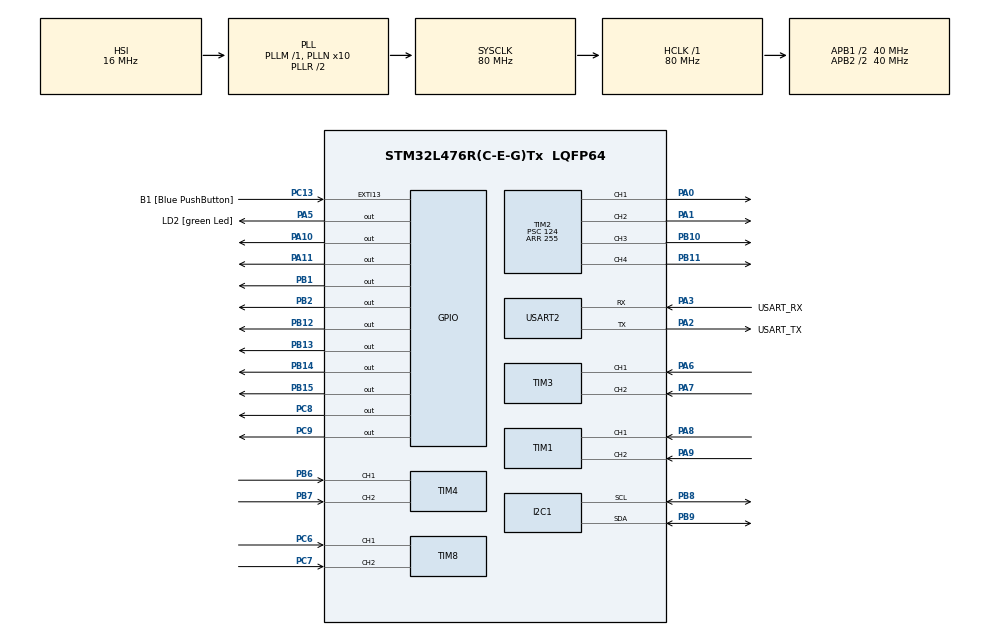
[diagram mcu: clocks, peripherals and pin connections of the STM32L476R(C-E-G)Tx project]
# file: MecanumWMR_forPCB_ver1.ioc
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I2C1.OwnAddress=0x12
I2C1.Timing=0x00909BEB
Mcu.Family=STM32L4
Mcu.Name=STM32L476R(C-E-G)Tx
Mcu.Package=LQFP64
NVIC.EXTI15_10_IRQn=true\:0\:0\:false\:false\:true\:true\:true\:true
NVIC.I2C1_ER_IRQn=true\:0\:0\:false\:false\:true\:true\:true\:true
NVIC.I2C1_EV_IRQn=true\:0\:0\:false\:false\:true\:true\:true\:true
NVIC.PriorityGroup=NVIC_PRIORITYGROUP_4
NVIC.TIM5_IRQn=true\:0\:0\:false\:false\:true\:true\:true\:true
PA0.Signal=S_TIM2_CH1
PA1.Signal=S_TIM2_CH2
PA10.GPIO_PuPd=GPIO_PULLDOWN
PA10.Signal=GPIO_Output
PA11.GPIO_PuPd=GPIO_PULLDOWN
PA11.Signal=GPIO_Output
PA13\ (JTMS-SWDIO).GPIO_Label=TMS
PA13\ (JTMS-SWDIO).Mode=Serial_Wire
PA13\ (JTMS-SWDIO).Signal=SYS_JTMS-SWDIO
PA14\ (JTCK-SWCLK).GPIO_Label=TCK
PA14\ (JTCK-SWCLK).Mode=Serial_Wire
PA14\ (JTCK-SWCLK).Signal=SYS_JTCK-SWCLK
PA2.GPIO_Label=USART_TX
PA2.GPIO_Mode=GPIO_MODE_AF_PP
PA2.GPIO_PuPd=GPIO_NOPULL
PA2.GPIO_Speed=GPIO_SPEED_FREQ_VERY_HIGH
PA2.Mode=Asynchronous
PA2.Signal=USART2_TX
PA3.GPIO_Label=USART_RX
PA3.GPIO_Mode=GPIO_MODE_AF_PP
PA3.GPIO_PuPd=GPIO_NOPULL
PA3.GPIO_Speed=GPIO_SPEED_FREQ_VERY_HIGH
PA3.Mode=Asynchronous
PA3.Signal=USART2_RX
PA5.GPIO_Label=LD2 [green Led]
PA5.GPIO_ModeDefaultOutputPP=GPIO_MODE_OUTPUT_PP
PA5.GPIO_PuPd=GPIO_NOPULL
PA5.GPIO_Speed=GPIO_SPEED_FREQ_LOW
PA5.Signal=GPIO_Output
PA6.GPIO_PuPd=GPIO_PULLUP
PA6.Signal=S_TIM3_CH1
PA7.GPIO_PuPd=GPIO_PULLUP
PA7.Signal=S_TIM3_CH2
PA8.GPIO_PuPd=GPIO_PULLUP
PA8.Signal=S_TIM1_CH1
PA9.GPIO_PuPd=GPIO_PULLUP
PA9.Signal=S_TIM1_CH2
PB1.GPIO_PuPd=GPIO_PULLDOWN
PB1.Signal=GPIO_Output
PB10.Signal=S_TIM2_CH3
PB11.Signal=S_TIM2_CH4
PB12.GPIO_PuPd=GPIO_PULLDOWN
PB12.Signal=GPIO_Output
PB13.GPIO_PuPd=GPIO_PULLDOWN
PB13.Signal=GPIO_Output
PB14.GPIO_PuPd=GPIO_PULLDOWN
PB14.Signal=GPIO_Output
PB15.GPIO_PuPd=GPIO_PULLDOWN
PB15.Signal=GPIO_Output
PB2.GPIO_PuPd=GPIO_PULLDOWN
PB2.Signal=GPIO_Output
PB3\ (JTDO-TRACESWO).GPIO_Label=SWO
PB3\ (JTDO-TRACESWO).Signal=SYS_JTDO-SWO
PB6.GPIO_PuPd=GPIO_PULLUP
PB6.Signal=S_TIM4_CH1
PB7.GPIO_PuPd=GPIO_PULLUP
PB7.Signal=S_TIM4_CH2
PB8.GPIO_Pu=GPIO_PULLUP
PB8.Mode=I2C
PB8.Signal=I2C1_SCL
PB9.GPIO_Pu=GPIO_PULLUP
PB9.Mode=I2C
PB9.Signal=I2C1_SDA
PC13.GPIO_Label=B1 [Blue PushButton]
PC13.GPIO_ModeDefaultEXTI=GPIO_MODE_IT_FALLING
PC13.GPIO_PuPd=GPIO_PULLUP
PC13.Signal=GPXTI13
PC14-OSC32_IN\ (PC14).Signal=RCC_OSC32_IN
PC15-OSC32_OUT\ (PC15).Signal=RCC_OSC32_OUT
PC6.GPIO_PuPd=GPIO_PULLUP
PC6.Signal=S_TIM8_CH1
PC7.GPIO_PuPd=GPIO_PULLUP
PC7.Signal=S_TIM8_CH2
PC8.GPIO_PuPd=GPIO_PULLDOWN
PC8.Signal=GPIO_Output
PC9.GPIO_PuPd=GPIO_PULLDOWN
PC9.Signal=GPIO_Output
PH0-OSC_IN\ (PH0).Signal=RCC_OSC_IN
PH1-OSC_OUT\ (PH1).Signal=RCC_OSC_OUT
ProjectManager.HeapSize=0x200
ProjectManager.StackSize=0x400
ProjectManager.TargetToolchain=STM32CubeIDE
RCC.ADCFreq_Value=64000000
RCC.AHBFreq_Value=80000000
RCC.APB1CLKDivider=RCC_HCLK_DIV2
RCC.APB1Freq_Value=40000000
RCC.APB1TimFreq_Value=80000000
RCC.APB2CLKDivider=RCC_HCLK_DIV2
RCC.APB2Freq_Value=40000000
RCC.APB2TimFreq_Value=80000000
RCC.CortexFreq_Value=80000000
RCC.HCLKFreq_Value=80000000
RCC.HSE_VALUE=8000000
RCC.HSI_VALUE=16000000
RCC.LSE_VALUE=32768
RCC.MSI_VALUE=4000000
RCC.PLLN=10
RCC.PLLSourceVirtual=RCC_PLLSOURCE_HSI
RCC.PREFETCH_ENABLE=1
RCC.SYSCLKFreq_VALUE=80000000
RCC.SYSCLKSource=RCC_SYSCLKSOURCE_PLLCLK
RCC.USBFreq_Value=64000000
RCC.VCOOutputFreq_Value=160000000
SH.S_TIM1_CH1.0=TIM1_CH1,Encoder_Interface
SH.S_TIM1_CH2.0=TIM1_CH2,Encoder_Interface
SH.S_TIM2_CH1.0=TIM2_CH1,PWM Generation1 CH1
SH.S_TIM2_CH2.0=TIM2_CH2,PWM Generation2 CH2
SH.S_TIM2_CH3.0=TIM2_CH3,PWM Generation3 CH3
SH.S_TIM2_CH4.0=TIM2_CH4,PWM Generation4 CH4
SH.S_TIM3_CH1.0=TIM3_CH1,Encoder_Interface
SH.S_TIM3_CH2.0=TIM3_CH2,Encoder_Interface
SH.S_TIM4_CH1.0=TIM4_CH1,Encoder_Interface
SH.S_TIM4_CH2.0=TIM4_CH2,Encoder_Interface
SH.S_TIM8_CH1.0=TIM8_CH1,Encoder_Interface
SH.S_TIM8_CH2.0=TIM8_CH2,Encoder_Interface
TIM1.EncoderMode=TIM_ENCODERMODE_TI12
TIM2.AutoReloadPreload=TIM_AUTORELOAD_PRELOAD_ENABLE
TIM2.Channel-PWM\ Generation1\ CH1=TIM_CHANNEL_1
TIM2.Channel-PWM\ Generation2\ CH2=TIM_CHANNEL_2
TIM2.Channel-PWM\ Generation3\ CH3=TIM_CHANNEL_3
TIM2.Channel-PWM\ Generation4\ CH4=TIM_CHANNEL_4
TIM2.Period=255
TIM2.Prescaler=124
TIM3.EncoderMode=TIM_ENCODERMODE_TI12
TIM4.EncoderMode=TIM_ENCODERMODE_TI12
TIM5.AutoReloadPreload=TIM_AUTORELOAD_PRELOAD_ENABLE
TIM5.Period=499
TIM5.Prescaler=7999
TIM8.EncoderMode=TIM_ENCODERMODE_TI12
USART2.VirtualMode-Asynchronous=VM_ASYNC
VP_TIM2_VS_ClockSourceINT.Mode=Internal
VP_TIM5_VS_ClockSourceINT.Mode=Internal
board=NUCLEO-L476RG

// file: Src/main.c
/* USER CODE BEGIN Header */
/**
  ******************************************************************************
  * @file           : main.c
  * @brief          : Main program body
  ******************************************************************************
  * @attention
  *
  * Copyright (c) 2024 STMicroelectronics.
  * All rights reserved.
  *
  * This software is licensed under terms that can be found in the LICENSE file
  * in the root directory of this software component.
  * If no LICENSE file comes with this software, it is provided AS-IS.
  *
  ******************************************************************************
  */
/* USER CODE END Header */
#include "main.h"

/* USER CODE BEGIN Includes */
#include <stdlib.h>
#include <string.h>
#include <stdint.h>
#include <stdio.h>
#include <math.h>
#include "I2C_slave.h"
#include "controller.h"
#include "four_motor.h"
/* USER CODE END Includes */

/* USER CODE BEGIN PM */
#define SIGN(X) (X<0.0f?-1:1)
/* USER CODE END PM */

I2C_HandleTypeDef hi2c1;

TIM_HandleTypeDef htim1;
TIM_HandleTypeDef htim2;
TIM_HandleTypeDef htim3;
TIM_HandleTypeDef htim4;
TIM_HandleTypeDef htim5;
TIM_HandleTypeDef htim8;

UART_HandleTypeDef huart2;

/* USER CODE BEGIN PV */
Four_motor_t four_wheel;
volatile I2C_Signal_t pi_signal = {.value=0};
volatile I2C_Wheel_speed_t wheel_speed_ref, wheel_speed_est;
DSMC_GAIN dsmc_gain;
PID_GAIN pid_gain = {.Kp=10,.Ki=2,.Kd=0};
/* USER CODE END PV */

void SystemClock_Config(void);
static void MX_GPIO_Init(void);
static void MX_I2C1_Init(void);
static void MX_TIM1_Init(void);
static void MX_TIM2_Init(void);
static void MX_TIM3_Init(void);
static void MX_TIM4_Init(void);
static void MX_TIM5_Init(void);
static void MX_TIM8_Init(void);
static void MX_USART2_UART_Init(void);
/* USER CODE BEGIN PFP */
void Timer_Enable(void);
void Timer_Disable(void);
void reset(void);
/* USER CODE END PFP */

int main(void)
{

  /* MCU Configuration--------------------------------------------------------*/

  /* Reset of all peripherals, Initializes the Flash interface and the Systick. */
  HAL_Init();

  /* Configure the system clock */
  SystemClock_Config();

  /* Initialize all configured peripherals */
  MX_GPIO_Init();
  MX_I2C1_Init();
  MX_TIM1_Init();
  MX_TIM2_Init();
  MX_TIM3_Init();
  MX_TIM4_Init();
  MX_TIM5_Init();
  MX_TIM8_Init();
  MX_USART2_UART_Init();
  /* USER CODE BEGIN 2 */
  if (HAL_I2C_EnableListen_IT(&hi2c1)!=HAL_OK) Error_Handler();
  Motor_Init(&four_wheel);
  setDSMCgain(&dsmc_gain, 0.8835f, 0.0177f, 10.f, 0.4f, 0.9f, 1.f, 0.5f);
  /* USER CODE END 2 */

  /* Infinite loop */
  /* USER CODE BEGIN WHILE */
//  char message[30] = {0};
  while (1)
  {
	  if (pi_signal.value==0) {
		  Motor_Stop();
		  Timer_Disable();
		  while (pi_signal.value==0) {

		  }
	  }
	  else if (pi_signal.value==1) {
		  reset();
		  Motor_Start();
		  Timer_Enable();
		  while (pi_signal.value==1) {
//			  sprintf(message, "%.5f\t%.5f\n", dsmc_gain.model[0].A, dsmc_gain.model[0].b);
//			  HAL_UART_Transmit(&huart2, (uint8_t*) message, strlen(message)+1, HAL_MAX_DELAY);
//			  Motor_Drive(&four_wheel);
//			  HAL_Delay(100);
		  }
	  }
    /* USER CODE END WHILE */

  }
}

void SystemClock_Config(void)
{
  RCC_OscInitTypeDef RCC_OscInitStruct = {0};
  RCC_ClkInitTypeDef RCC_ClkInitStruct = {0};

  /** Configure the main internal regulator output voltage
  */
  if (HAL_PWREx_ControlVoltageScaling(PWR_REGULATOR_VOLTAGE_SCALE1) != HAL_OK)
  {
    Error_Handler();
  }
  /** Initializes the RCC Oscillators according to the specified parameters
  * in the RCC_OscInitTypeDef structure.
  */
  RCC_OscInitStruct.OscillatorType = RCC_OSCILLATORTYPE_HSI;
  RCC_OscInitStruct.HSIState = RCC_HSI_ON;
  RCC_OscInitStruct.HSICalibrationValue = RCC_HSICALIBRATION_DEFAULT;
  RCC_OscInitStruct.PLL.PLLState = RCC_PLL_ON;
  RCC_OscInitStruct.PLL.PLLSource = RCC_PLLSOURCE_HSI;
  RCC_OscInitStruct.PLL.PLLM = 1;
  RCC_OscInitStruct.PLL.PLLN = 10;
  RCC_OscInitStruct.PLL.PLLP = RCC_PLLP_DIV7;
  RCC_OscInitStruct.PLL.PLLQ = RCC_PLLQ_DIV2;
  RCC_OscInitStruct.PLL.PLLR = RCC_PLLR_DIV2;
  if (HAL_RCC_OscConfig(&RCC_OscInitStruct) != HAL_OK)
  {
    Error_Handler();
  }
  /** Initializes the CPU, AHB and APB buses clocks
  */
  RCC_ClkInitStruct.ClockType = RCC_CLOCKTYPE_HCLK|RCC_CLOCKTYPE_SYSCLK
                              |RCC_CLOCKTYPE_PCLK1|RCC_CLOCKTYPE_PCLK2;
  RCC_ClkInitStruct.SYSCLKSource = RCC_SYSCLKSOURCE_PLLCLK;
  RCC_ClkInitStruct.AHBCLKDivider = RCC_SYSCLK_DIV1;
  RCC_ClkInitStruct.APB1CLKDivider = RCC_HCLK_DIV2;
  RCC_ClkInitStruct.APB2CLKDivider = RCC_HCLK_DIV2;

  if (HAL_RCC_ClockConfig(&RCC_ClkInitStruct, FLASH_LATENCY_4) != HAL_OK)
  {
    Error_Handler();
  }
}

static void MX_I2C1_Init(void)
{

  hi2c1.Instance = I2C1;
  hi2c1.Init.Timing = 0x00909BEB;
  hi2c1.Init.OwnAddress1 = 36;
  hi2c1.Init.AddressingMode = I2C_ADDRESSINGMODE_7BIT;
  hi2c1.Init.DualAddressMode = I2C_DUALADDRESS_DISABLE;
  hi2c1.Init.OwnAddress2 = 0;
  hi2c1.Init.OwnAddress2Masks = I2C_OA2_NOMASK;
  hi2c1.Init.GeneralCallMode = I2C_GENERALCALL_DISABLE;
  hi2c1.Init.NoStretchMode = I2C_NOSTRETCH_DISABLE;
  if (HAL_I2C_Init(&hi2c1) != HAL_OK)
  {
    Error_Handler();
  }
  /** Configure Analogue filter
  */
  if (HAL_I2CEx_ConfigAnalogFilter(&hi2c1, I2C_ANALOGFILTER_ENABLE) != HAL_OK)
  {
    Error_Handler();
  }
  /** Configure Digital filter
  */
  if (HAL_I2CEx_ConfigDigitalFilter(&hi2c1, 0) != HAL_OK)
  {
    Error_Handler();
  }

}

static void MX_TIM1_Init(void)
{

  TIM_Encoder_InitTypeDef sConfig = {0};
  TIM_MasterConfigTypeDef sMasterConfig = {0};

  htim1.Instance = TIM1;
  htim1.Init.Prescaler = 0;
  htim1.Init.CounterMode = TIM_COUNTERMODE_UP;
  htim1.Init.Period = 65535;
  htim1.Init.ClockDivision = TIM_CLOCKDIVISION_DIV1;
  htim1.Init.RepetitionCounter = 0;
  htim1.Init.AutoReloadPreload = TIM_AUTORELOAD_PRELOAD_DISABLE;
  sConfig.EncoderMode = TIM_ENCODERMODE_TI12;
  sConfig.IC1Polarity = TIM_ICPOLARITY_RISING;
  sConfig.IC1Selection = TIM_ICSELECTION_DIRECTTI;
  sConfig.IC1Prescaler = TIM_ICPSC_DIV1;
  sConfig.IC1Filter = 0;
  sConfig.IC2Polarity = TIM_ICPOLARITY_RISING;
  sConfig.IC2Selection = TIM_ICSELECTION_DIRECTTI;
  sConfig.IC2Prescaler = TIM_ICPSC_DIV1;
  sConfig.IC2Filter = 0;
  if (HAL_TIM_Encoder_Init(&htim1, &sConfig) != HAL_OK)
  {
    Error_Handler();
  }
  sMasterConfig.MasterOutputTrigger = TIM_TRGO_RESET;
  sMasterConfig.MasterOutputTrigger2 = TIM_TRGO2_RESET;
  sMasterConfig.MasterSlaveMode = TIM_MASTERSLAVEMODE_DISABLE;
  if (HAL_TIMEx_MasterConfigSynchronization(&htim1, &sMasterConfig) != HAL_OK)
  {
    Error_Handler();
  }

}

static void MX_TIM2_Init(void)
{

  TIM_ClockConfigTypeDef sClockSourceConfig = {0};
  TIM_MasterConfigTypeDef sMasterConfig = {0};
  TIM_OC_InitTypeDef sConfigOC = {0};

  htim2.Instance = TIM2;
  htim2.Init.Prescaler = 124;
  htim2.Init.CounterMode = TIM_COUNTERMODE_UP;
  htim2.Init.Period = 255;
  htim2.Init.ClockDivision = TIM_CLOCKDIVISION_DIV1;
  htim2.Init.AutoReloadPreload = TIM_AUTORELOAD_PRELOAD_ENABLE;
  if (HAL_TIM_Base_Init(&htim2) != HAL_OK)
  {
    Error_Handler();
  }
  sClockSourceConfig.ClockSource = TIM_CLOCKSOURCE_INTERNAL;
  if (HAL_TIM_ConfigClockSource(&htim2, &sClockSourceConfig) != HAL_OK)
  {
    Error_Handler();
  }
  if (HAL_TIM_PWM_Init(&htim2) != HAL_OK)
  {
    Error_Handler();
  }
  sMasterConfig.MasterOutputTrigger = TIM_TRGO_RESET;
  sMasterConfig.MasterSlaveMode = TIM_MASTERSLAVEMODE_DISABLE;
  if (HAL_TIMEx_MasterConfigSynchronization(&htim2, &sMasterConfig) != HAL_OK)
  {
    Error_Handler();
  }
  sConfigOC.OCMode = TIM_OCMODE_PWM1;
  sConfigOC.Pulse = 0;
  sConfigOC.OCPolarity = TIM_OCPOLARITY_HIGH;
  sConfigOC.OCFastMode = TIM_OCFAST_DISABLE;
  if (HAL_TIM_PWM_ConfigChannel(&htim2, &sConfigOC, TIM_CHANNEL_1) != HAL_OK)
  {
    Error_Handler();
  }
  if (HAL_TIM_PWM_ConfigChannel(&htim2, &sConfigOC, TIM_CHANNEL_2) != HAL_OK)
  {
    Error_Handler();
  }
  if (HAL_TIM_PWM_ConfigChannel(&htim2, &sConfigOC, TIM_CHANNEL_3) != HAL_OK)
  {
    Error_Handler();
  }
  if (HAL_TIM_PWM_ConfigChannel(&htim2, &sConfigOC, TIM_CHANNEL_4) != HAL_OK)
  {
    Error_Handler();
  }
  HAL_TIM_MspPostInit(&htim2);

}

static void MX_TIM3_Init(void)
{

  TIM_Encoder_InitTypeDef sConfig = {0};
  TIM_MasterConfigTypeDef sMasterConfig = {0};

  htim3.Instance = TIM3;
  htim3.Init.Prescaler = 0;
  htim3.Init.CounterMode = TIM_COUNTERMODE_UP;
  htim3.Init.Period = 65535;
  htim3.Init.ClockDivision = TIM_CLOCKDIVISION_DIV1;
  htim3.Init.AutoReloadPreload = TIM_AUTORELOAD_PRELOAD_DISABLE;
  sConfig.EncoderMode = TIM_ENCODERMODE_TI12;
  sConfig.IC1Polarity = TIM_ICPOLARITY_RISING;
  sConfig.IC1Selection = TIM_ICSELECTION_DIRECTTI;
  sConfig.IC1Prescaler = TIM_ICPSC_DIV1;
  sConfig.IC1Filter = 0;
  sConfig.IC2Polarity = TIM_ICPOLARITY_RISING;
  sConfig.IC2Selection = TIM_ICSELECTION_DIRECTTI;
  sConfig.IC2Prescaler = TIM_ICPSC_DIV1;
  sConfig.IC2Filter = 0;
  if (HAL_TIM_Encoder_Init(&htim3, &sConfig) != HAL_OK)
  {
    Error_Handler();
  }
  sMasterConfig.MasterOutputTrigger = TIM_TRGO_RESET;
  sMasterConfig.MasterSlaveMode = TIM_MASTERSLAVEMODE_DISABLE;
  if (HAL_TIMEx_MasterConfigSynchronization(&htim3, &sMasterConfig) != HAL_OK)
  {
    Error_Handler();
  }

}

static void MX_TIM4_Init(void)
{

  TIM_Encoder_InitTypeDef sConfig = {0};
  TIM_MasterConfigTypeDef sMasterConfig = {0};

  htim4.Instance = TIM4;
  htim4.Init.Prescaler = 0;
  htim4.Init.CounterMode = TIM_COUNTERMODE_UP;
  htim4.Init.Period = 65535;
  htim4.Init.ClockDivision = TIM_CLOCKDIVISION_DIV1;
  htim4.Init.AutoReloadPreload = TIM_AUTORELOAD_PRELOAD_DISABLE;
  sConfig.EncoderMode = TIM_ENCODERMODE_TI12;
  sConfig.IC1Polarity = TIM_ICPOLARITY_RISING;
  sConfig.IC1Selection = TIM_ICSELECTION_DIRECTTI;
  sConfig.IC1Prescaler = TIM_ICPSC_DIV1;
  sConfig.IC1Filter = 0;
  sConfig.IC2Polarity = TIM_ICPOLARITY_RISING;
  sConfig.IC2Selection = TIM_ICSELECTION_DIRECTTI;
  sConfig.IC2Prescaler = TIM_ICPSC_DIV1;
  sConfig.IC2Filter = 0;
  if (HAL_TIM_Encoder_Init(&htim4, &sConfig) != HAL_OK)
  {
    Error_Handler();
  }
  sMasterConfig.MasterOutputTrigger = TIM_TRGO_RESET;
  sMasterConfig.MasterSlaveMode = TIM_MASTERSLAVEMODE_DISABLE;
  if (HAL_TIMEx_MasterConfigSynchronization(&htim4, &sMasterConfig) != HAL_OK)
  {
    Error_Handler();
  }

}

static void MX_TIM5_Init(void)
{

  TIM_ClockConfigTypeDef sClockSourceConfig = {0};
  TIM_MasterConfigTypeDef sMasterConfig = {0};

  htim5.Instance = TIM5;
  htim5.Init.Prescaler = 7999;
  htim5.Init.CounterMode = TIM_COUNTERMODE_UP;
  htim5.Init.Period = 499;
  htim5.Init.ClockDivision = TIM_CLOCKDIVISION_DIV1;
  htim5.Init.AutoReloadPreload = TIM_AUTORELOAD_PRELOAD_ENABLE;
  if (HAL_TIM_Base_Init(&htim5) != HAL_OK)
  {
    Error_Handler();
  }
  sClockSourceConfig.ClockSource = TIM_CLOCKSOURCE_INTERNAL;
  if (HAL_TIM_ConfigClockSource(&htim5, &sClockSourceConfig) != HAL_OK)
  {
    Error_Handler();
  }
  sMasterConfig.MasterOutputTrigger = TIM_TRGO_RESET;
  sMasterConfig.MasterSlaveMode = TIM_MASTERSLAVEMODE_DISABLE;
  if (HAL_TIMEx_MasterConfigSynchronization(&htim5, &sMasterConfig) != HAL_OK)
  {
    Error_Handler();
  }

}

static void MX_TIM8_Init(void)
{

  TIM_Encoder_InitTypeDef sConfig = {0};
  TIM_MasterConfigTypeDef sMasterConfig = {0};

  htim8.Instance = TIM8;
  htim8.Init.Prescaler = 0;
  htim8.Init.CounterMode = TIM_COUNTERMODE_UP;
  htim8.Init.Period = 65535;
  htim8.Init.ClockDivision = TIM_CLOCKDIVISION_DIV1;
  htim8.Init.RepetitionCounter = 0;
  htim8.Init.AutoReloadPreload = TIM_AUTORELOAD_PRELOAD_DISABLE;
  sConfig.EncoderMode = TIM_ENCODERMODE_TI12;
  sConfig.IC1Polarity = TIM_ICPOLARITY_RISING;
  sConfig.IC1Selection = TIM_ICSELECTION_DIRECTTI;
  sConfig.IC1Prescaler = TIM_ICPSC_DIV1;
  sConfig.IC1Filter = 0;
  sConfig.IC2Polarity = TIM_ICPOLARITY_RISING;
  sConfig.IC2Selection = TIM_ICSELECTION_DIRECTTI;
  sConfig.IC2Prescaler = TIM_ICPSC_DIV1;
  sConfig.IC2Filter = 0;
  if (HAL_TIM_Encoder_Init(&htim8, &sConfig) != HAL_OK)
  {
    Error_Handler();
  }
  sMasterConfig.MasterOutputTrigger = TIM_TRGO_RESET;
  sMasterConfig.MasterOutputTrigger2 = TIM_TRGO2_RESET;
  sMasterConfig.MasterSlaveMode = TIM_MASTERSLAVEMODE_DISABLE;
  if (HAL_TIMEx_MasterConfigSynchronization(&htim8, &sMasterConfig) != HAL_OK)
  {
    Error_Handler();
  }

}

static void MX_USART2_UART_Init(void)
{

  huart2.Instance = USART2;
  huart2.Init.BaudRate = 115200;
  huart2.Init.WordLength = UART_WORDLENGTH_8B;
  huart2.Init.StopBits = UART_STOPBITS_1;
  huart2.Init.Parity = UART_PARITY_NONE;
  huart2.Init.Mode = UART_MODE_TX_RX;
  huart2.Init.HwFlowCtl = UART_HWCONTROL_NONE;
  huart2.Init.OverSampling = UART_OVERSAMPLING_16;
  huart2.Init.OneBitSampling = UART_ONE_BIT_SAMPLE_DISABLE;
  huart2.AdvancedInit.AdvFeatureInit = UART_ADVFEATURE_NO_INIT;
  if (HAL_UART_Init(&huart2) != HAL_OK)
  {
    Error_Handler();
  }

}

static void MX_GPIO_Init(void)
{
  GPIO_InitTypeDef GPIO_InitStruct = {0};

  /* GPIO Ports Clock Enable */
  __HAL_RCC_GPIOC_CLK_ENABLE();
  __HAL_RCC_GPIOH_CLK_ENABLE();
  __HAL_RCC_GPIOA_CLK_ENABLE();
  __HAL_RCC_GPIOB_CLK_ENABLE();

  /*Configure GPIO pin Output Level */
  HAL_GPIO_WritePin(GPIOA, LD2_Pin|GPIO_PIN_10|GPIO_PIN_11, GPIO_PIN_RESET);

  /*Configure GPIO pin Output Level */
  HAL_GPIO_WritePin(GPIOB, GPIO_PIN_1|GPIO_PIN_2|GPIO_PIN_12|GPIO_PIN_13
                          |GPIO_PIN_14|GPIO_PIN_15, GPIO_PIN_RESET);

  /*Configure GPIO pin Output Level */
  HAL_GPIO_WritePin(GPIOC, GPIO_PIN_8|GPIO_PIN_9, GPIO_PIN_RESET);

  /*Configure GPIO pin : B1_Pin */
  GPIO_InitStruct.Pin = B1_Pin;
  GPIO_InitStruct.Mode = GPIO_MODE_IT_FALLING;
  GPIO_InitStruct.Pull = GPIO_PULLUP;
  HAL_GPIO_Init(B1_GPIO_Port, &GPIO_InitStruct);

  /*Configure GPIO pin : LD2_Pin */
  GPIO_InitStruct.Pin = LD2_Pin;
  GPIO_InitStruct.Mode = GPIO_MODE_OUTPUT_PP;
  GPIO_InitStruct.Pull = GPIO_NOPULL;
  GPIO_InitStruct.Speed = GPIO_SPEED_FREQ_LOW;
  HAL_GPIO_Init(LD2_GPIO_Port, &GPIO_InitStruct);

  /*Configure GPIO pins : PB1 PB2 PB12 PB13
                           PB14 PB15 */
  GPIO_InitStruct.Pin = GPIO_PIN_1|GPIO_PIN_2|GPIO_PIN_12|GPIO_PIN_13
                          |GPIO_PIN_14|GPIO_PIN_15;
  GPIO_InitStruct.Mode = GPIO_MODE_OUTPUT_PP;
  GPIO_InitStruct.Pull = GPIO_PULLDOWN;
  GPIO_InitStruct.Speed = GPIO_SPEED_FREQ_LOW;
  HAL_GPIO_Init(GPIOB, &GPIO_InitStruct);

  /*Configure GPIO pins : PC8 PC9 */
  GPIO_InitStruct.Pin = GPIO_PIN_8|GPIO_PIN_9;
  GPIO_InitStruct.Mode = GPIO_MODE_OUTPUT_PP;
  GPIO_InitStruct.Pull = GPIO_PULLDOWN;
  GPIO_InitStruct.Speed = GPIO_SPEED_FREQ_LOW;
  HAL_GPIO_Init(GPIOC, &GPIO_InitStruct);

  /*Configure GPIO pins : PA10 PA11 */
  GPIO_InitStruct.Pin = GPIO_PIN_10|GPIO_PIN_11;
  GPIO_InitStruct.Mode = GPIO_MODE_OUTPUT_PP;
  GPIO_InitStruct.Pull = GPIO_PULLDOWN;
  GPIO_InitStruct.Speed = GPIO_SPEED_FREQ_LOW;
  HAL_GPIO_Init(GPIOA, &GPIO_InitStruct);

  /* EXTI interrupt init*/
  HAL_NVIC_SetPriority(EXTI15_10_IRQn, 0, 0);
  HAL_NVIC_EnableIRQ(EXTI15_10_IRQn);

}

/* USER CODE BEGIN 4 */
void Timer_Enable(void)
{
//  __HAL_TIM_CLEAR_IT(&htim5, TIM_IT_UPDATE);
  HAL_TIM_Encoder_Start(&htim1, TIM_CHANNEL_1|TIM_CHANNEL_2);
  HAL_TIM_Encoder_Start(&htim8, TIM_CHANNEL_1|TIM_CHANNEL_2);
  HAL_TIM_Encoder_Start(&htim4, TIM_CHANNEL_1|TIM_CHANNEL_2);
  HAL_TIM_Encoder_Start(&htim3, TIM_CHANNEL_1|TIM_CHANNEL_2);
  HAL_TIM_PWM_Start(&htim2, TIM_CHANNEL_1);
  HAL_TIM_PWM_Start(&htim2, TIM_CHANNEL_2);
  HAL_TIM_PWM_Start(&htim2, TIM_CHANNEL_3);
  HAL_TIM_PWM_Start(&htim2, TIM_CHANNEL_4);
  HAL_TIM_Base_Start_IT(&htim5);
}

void Timer_Disable(void)
{
  HAL_TIM_Encoder_Stop(&htim1, TIM_CHANNEL_1|TIM_CHANNEL_2);
  HAL_TIM_Encoder_Stop(&htim8, TIM_CHANNEL_1|TIM_CHANNEL_2);
  HAL_TIM_Encoder_Stop(&htim4, TIM_CHANNEL_1|TIM_CHANNEL_2);
  HAL_TIM_Encoder_Stop(&htim3, TIM_CHANNEL_1|TIM_CHANNEL_2);
  HAL_TIM_PWM_Stop(&htim2, TIM_CHANNEL_1);
  HAL_TIM_PWM_Stop(&htim2, TIM_CHANNEL_2);
  HAL_TIM_PWM_Stop(&htim2, TIM_CHANNEL_3);
  HAL_TIM_PWM_Stop(&htim2, TIM_CHANNEL_4);
  HAL_TIM_Base_Stop_IT(&htim5);
}

void reset(void) {
	for (short i = 0; i < WHEEL_NUM; i++) {
		wheel_speed_est.value[i] = 0;
		wheel_speed_ref.value[i] = 0;
		four_wheel.Speed[i] = 0;
		four_wheel.PWMdutycycle[i] = 0;
		(*(four_wheel.Encoder_timer[i])).Instance->CNT = 0;
	}
	float zeros[4]={0.0}, temp_output[4]={0.0};
	for (short i = 0; i < WINDOW_SIZE; i++) MA_filter(temp_output, zeros);
}

void HAL_TIM_PeriodElapsedCallback(TIM_HandleTypeDef *htim) {
  if(htim == &htim5) {
    float control_input[WHEEL_NUM]={0.f}, filter_output[WHEEL_NUM]={0.f};
    GetSpeed(&four_wheel);
    DSMC_step(control_input, wheel_speed_ref.value, four_wheel.Speed, dsmc_gain);
//    PID_step(control_input, wheel_speed_ref.value, four_wheel.Speed, pid_gain);
//    RLS_step(&dsmc_gain, control_input, four_wheel.Speed);
    for (short i = 0; i < WHEEL_NUM; i++) {
      four_wheel.PWMdutycycle[i] = (uint32_t) fabs(control_input[i]);
      four_wheel.Direction[i] = (signed char) SIGN(control_input[i]);
    }
	MA_filter(filter_output, four_wheel.Speed);
	for (short i = 0; i < WHEEL_NUM; i++) wheel_speed_est.value[i] = filter_output[i];
	Motor_Drive(&four_wheel);
  }
}

void HAL_GPIO_EXTI_Callback(uint16_t GPIO_Pin)
{
  if(GPIO_Pin == GPIO_PIN_13) {

  }
}
/* USER CODE END 4 */

void Error_Handler(void)
{
  __disable_irq();
  while (1)
  {
  }
}
